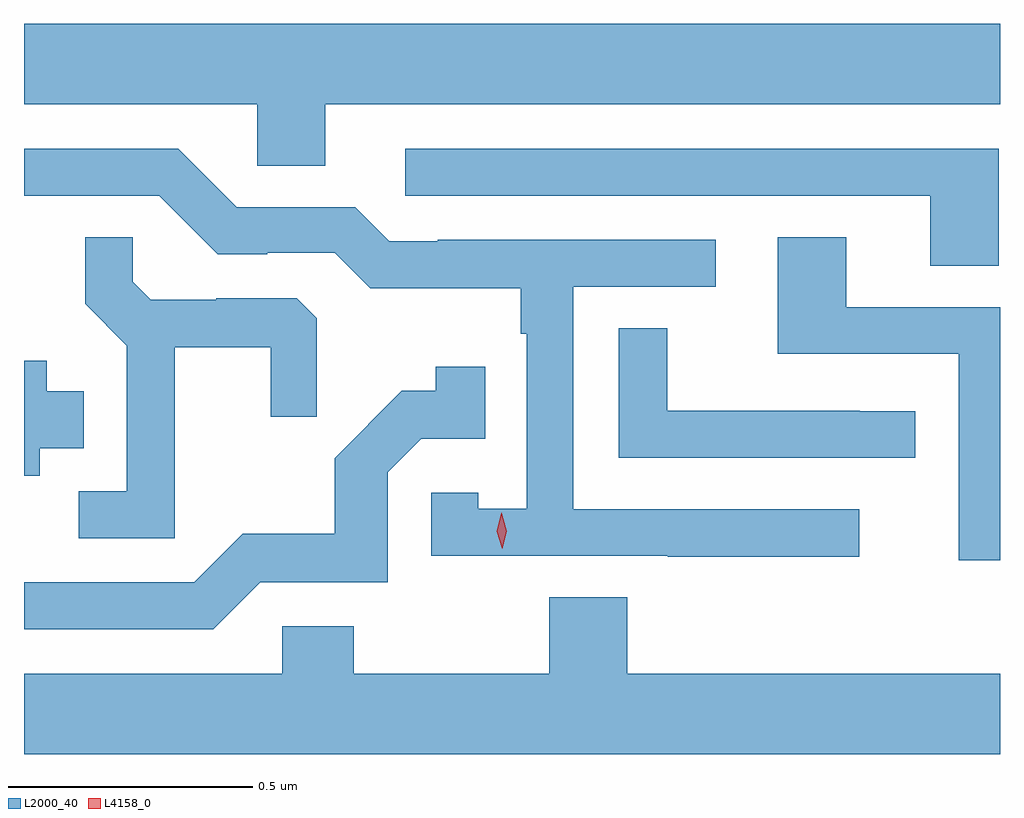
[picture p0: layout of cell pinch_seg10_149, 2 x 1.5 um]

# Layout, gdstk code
import gdstk
lib = gdstk.Library(unit=1e-6, precision=1e-09)
def P(c, l, *ps):  # polygons
    for p in ps: c.add(gdstk.Polygon(p, *l))
L2000_40 = (2000, 40)
L4158_0 = (4158, 0)

pinch_seg10_149 = lib.new_cell('pinch_seg10_149')
P(pinch_seg10_149, L2000_40, [(686.683,1284.332),(688.066,1284.332),(688.066,1284.496),(686.066,1284.496),(686.066,1284.332),(686.544,1284.332),(686.544,1284.205),(686.683,1284.205)],
  [(688.063,1284.24),(686.847,1284.24),(686.847,1284.144),(687.923,1284.144),(687.923,1284.001),(688.063,1284.001)],
  [(687.778,1283.502),(687.192,1283.502),(687.192,1283.958),(687.484,1283.958),(687.484,1284.054),(686.914,1284.054),(686.914,1284.051),(686.814,1284.051),(686.745,1284.12),(686.502,1284.12),(686.382,1284.24),(686.066,1284.24),(686.066,1284.144),(686.343,1284.144),(686.463,1284.024),(686.564,1284.024),(686.564,1284.027),(686.703,1284.027),(686.776,1283.954),(687.084,1283.954),(687.084,1283.861),(687.096,1283.861),(687.096,1283.503),(686.997,1283.503),(686.997,1283.535),(686.901,1283.535),(686.901,1283.406),(687.385,1283.406),(687.385,1283.404),(687.778,1283.404)],
  [(686.375,1283.834),(686.572,1283.834),(686.572,1283.691),(686.666,1283.691),(686.666,1283.893),(686.625,1283.934),(686.46,1283.934),(686.46,1283.931),(686.326,1283.931),(686.289,1283.968),(686.289,1284.059),(686.191,1284.059),(686.191,1283.923),(686.277,1283.837),(686.277,1283.538),(686.178,1283.538),(686.178,1283.442),(686.375,1283.442)],
  [(688.066,1283.916),(687.751,1283.916),(687.751,1284.059),(687.611,1284.059),(687.611,1283.82),(687.981,1283.82),(687.981,1283.397),(688.066,1283.397)],
  [(687.892,1283.702),(687.779,1283.702),(687.779,1283.703),(687.384,1283.703),(687.384,1283.873),(687.285,1283.873),(687.285,1283.607),(687.892,1283.607)],
  [(686.098,1283.627),(686.188,1283.627),(686.188,1283.743),(686.113,1283.743),(686.113,1283.806),(686.066,1283.806),(686.066,1283.57),(686.098,1283.57)],
  [(686.55,1283.352),(686.811,1283.352),(686.811,1283.577),(686.88,1283.646),(687.011,1283.646),(687.011,1283.794),(686.91,1283.794),(686.91,1283.744),(686.84,1283.744),(686.703,1283.606),(686.703,1283.451),(686.514,1283.451),(686.415,1283.352),(686.066,1283.352),(686.066,1283.256),(686.454,1283.256)],
  [(688.066,1283.164),(687.302,1283.164),(687.302,1283.321),(687.142,1283.321),(687.142,1283.164),(686.742,1283.164),(686.742,1283.262),(686.595,1283.262),(686.595,1283.164),(686.066,1283.164),(686.066,1283),(688.066,1283)])
P(pinch_seg10_149, L4158_0, [(687.046,1283.421),(687.046,1283.421),(687.035,1283.457),(687.044,1283.493),(687.045,1283.494),(687.045,1283.493),(687.055,1283.457),(687.046,1283.421)])

lib.write_gds('pinch_seg10_149.gds')
